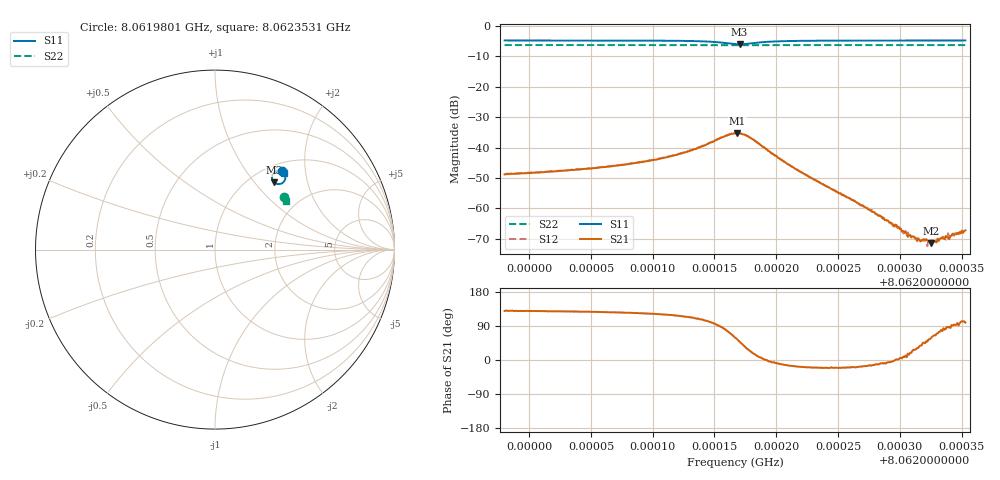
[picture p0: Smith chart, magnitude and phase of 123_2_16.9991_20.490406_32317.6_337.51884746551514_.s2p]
#  HZ  S  RI  R  50.00
! Rohde & Schwarz Vector Network Analyzer
! Rohde-Schwarz,ZNB20-2Port,1311601062101988,3.16
! Created: UTC 3/20/2024, 10:57:37 PM
! freq[Hz]  re:S11  im:S11  re:S21  im:S21  re:S12  im:S12  re:S22  im:S22
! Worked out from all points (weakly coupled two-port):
!   401 points, 8.0619801 GHz to 8.0623531 GHz, reference 50 ohm
!   highest |S21| = -35.25 dB at 8.0621685 GHz (marker M1); lowest = -71.3 dB at 8.0623251 GHz (marker M2)
!   lowest |S11| = -6.0 dB at 8.0621703 GHz (marker M3), VSWR 2.99, Z = 63.8 + j63.6 ohm
!   |S11| at or under -10 dB: nowhere
!   |S22| runs from -6.4 to -6.3 dB; largest |S21 - S12| = 0.0012
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8.06198014e9  0.3752 0.4366  -0.00231 0.00279  -0.00219 0.00296  0.3864 0.2905
8.06204261e9  0.3808 0.4308  -0.0027 0.0035  -0.00254 0.00366  0.3885 0.2872
8.06207897e9  0.385 0.4254  -0.00302 0.00436  -0.00282 0.00456  0.3899 0.2853
8.06210507e9  0.3887 0.4188  -0.00335 0.00559  -0.00305 0.00585  0.3909 0.2839
8.06213025e9  0.3922 0.406  -0.00341 0.0082  -0.00296 0.00846  0.3913 0.2821
8.06215169e9  0.3847 0.38  -0.000782 0.0134  5.01e-05 0.0136  0.3914 0.2801
8.0621666e9  0.3438 0.3666  0.00874 0.0147  0.00963 0.0142  0.3898 0.2795
8.06216847e9  0.3367 0.3696  0.01 0.014  0.011 0.0133  0.3897 0.2795
8.06217033e9  0.3303 0.3741  0.0114 0.0128  0.0123 0.0121  0.3897 0.2799
8.06217872e9  0.3173 0.4033  0.0133 0.00589  0.0138 0.00511  0.3898 0.281
8.06220296e9  0.3455 0.4387  0.00639 -0.00118  0.00637 -0.00154  0.3922 0.2809
8.06222907e9  0.3629 0.4391  0.00292 -0.00106  0.00289 -0.00124  0.3939 0.2793
8.06227568e9  0.375 0.4346  0.000914 -0.000227  0.000901 -0.000282  0.3956 0.2768
8.06229153e9  0.3774 0.4333  0.00058 -6.16e-05  0.000612 -9.09e-05  0.3961 0.276
8.06229806e9  0.3783 0.4329  0.000502 1.3e-05  0.000476 -9.19e-07  0.3966 0.2757
8.06230738e9  0.3793 0.4321  0.000351 8.89e-05  0.000364 6.95e-05  0.3968 0.2753
8.06231391e9  0.3801 0.4316  0.000251 0.000153  0.000271 0.000126  0.397 0.2748
8.06232043e9  0.3809 0.4311  0.000215 0.000211  0.00024 0.000173  0.3972 0.2744
8.0623251e9  0.3813 0.4307  0.000147 0.000228  0.000186 0.000219  0.3973 0.2743
8.06233069e9  0.3819 0.4303  0.000107 0.0003  0.000136 0.000256  0.3974 0.274
8.06233442e9  0.3824 0.43  7.87e-05 0.000323  7.28e-05 0.000332  0.3978 0.2738
8.06235306e9  0.3841 0.4287  -6.52e-05 0.000431  -6.33e-05 0.000416  0.3983 0.2729
